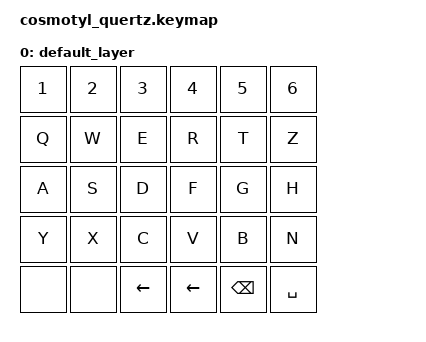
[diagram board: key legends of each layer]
#include <dt-bindings/zmk/keys.h>
#include <dt-bindings/zmk/bt.h>

/ {
    keymap {
        compatible = "zmk,keymap";

        default_layer {
            bindings = <
                // Spalte 0             Spalte 1             Spalte 2             Spalte 3             Spalte 4             Spalte 5
                &kp 1                 &kp 2                 &kp 3                 &kp 4                 &kp 5                 &kp 6
                &kp Q                 &kp W                 &kp E                 &kp R                 &kp T                 &kp Z
                &kp A                 &kp S                 &kp D                 &kp F                 &kp G                 &kp H
                &kp Y                 &kp X                 &kp C                 &kp V                 &kp B                 &kp N
                &none                &none                &kp LEFT                &kp LEFT              &kp BACKSPACE         &kp SPACE
            >;
        };
    };
};
